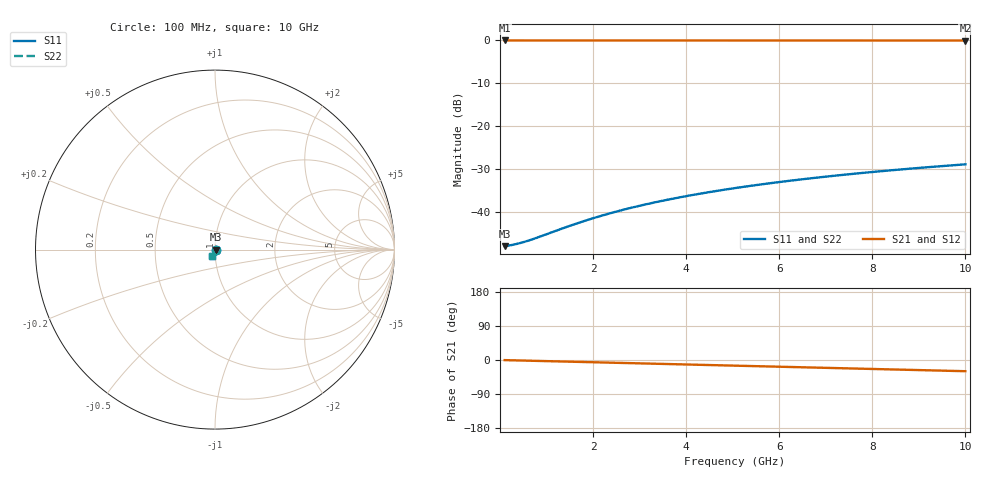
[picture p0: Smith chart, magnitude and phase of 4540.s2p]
# Hz S RI R 50.00
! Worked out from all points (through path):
!   100 points, 100 MHz to 10 GHz, reference 50 ohm
!   highest |S21| = -0.04 dB at 100 MHz (marker M1); lowest = 0.0 dB at 10 GHz (marker M2)
!   group delay of S21, straight-line fit = 8.21 ps
!   lowest |S11| = -47.8 dB at 100 MHz (marker M3), VSWR 1.01, Z = 50.4 - j0.0398 ohm
!   |S11| at or under -10 dB: start of sweep to end of sweep
!   |S22| runs from -47.8 to -28.8 dB; largest |S21 - S12| = 0
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1e8  0.00403 -0.000394  0.9959 -0.00513  0.9959 -0.00513  0.00403 -0.000394
2e8  0.00405 -0.000789  0.9959 -0.0103  0.9959 -0.0103  0.00405 -0.000789
3e8  0.00406 -0.00118  0.9958 -0.0154  0.9958 -0.0154  0.00406 -0.00118
4e8  0.00406 -0.00158  0.9957 -0.0205  0.9957 -0.0205  0.00406 -0.00158
6e8  0.00404 -0.00237  0.9954 -0.0308  0.9954 -0.0308  0.00404 -0.00237
8e8  0.004 -0.00316  0.995 -0.0411  0.995 -0.0411  0.004 -0.00316
1.4e9  0.00377 -0.00551  0.9932 -0.0718  0.9932 -0.0718  0.00377 -0.00551
1.8e9  0.00353 -0.00707  0.9914 -0.0923  0.9914 -0.0923  0.00353 -0.00707
2.2e9  0.00323 -0.00863  0.9893 -0.1127  0.9893 -0.1127  0.00323 -0.00863
2.6e9  0.00286 -0.0102  0.9867 -0.1331  0.9867 -0.1331  0.00286 -0.0102
3e9  0.00243 -0.0117  0.9837 -0.1534  0.9837 -0.1534  0.00243 -0.0117
3.4e9  0.00194 -0.0132  0.9802 -0.1736  0.9802 -0.1736  0.00194 -0.0132
3.8e9  0.00138 -0.0147  0.9764 -0.1938  0.9764 -0.1938  0.00138 -0.0147
4.2e9  0.000768 -0.0161  0.9721 -0.2139  0.9721 -0.2139  0.000768 -0.0161
4.6e9  9.37e-05 -0.0176  0.9675 -0.2339  0.9675 -0.2339  9.37e-05 -0.0176
5.1e9  -0.00083 -0.0193  0.961 -0.2588  0.961 -0.2588  -0.00083 -0.0193
5.9e9  -0.00249 -0.022  0.9494 -0.2982  0.9494 -0.2982  -0.00249 -0.022
6.7e9  -0.00436 -0.0246  0.9362 -0.3371  0.9362 -0.3371  -0.00436 -0.0246
7.5e9  -0.00644 -0.027  0.9213 -0.3754  0.9213 -0.3754  -0.00644 -0.027
8.4e9  -0.009 -0.0295  0.9027 -0.4178  0.9027 -0.4178  -0.009 -0.0295
9.2e9  -0.0115 -0.0315  0.8846 -0.4547  0.8846 -0.4547  -0.0115 -0.0315
1e10  -0.0141 -0.0333  0.8649 -0.4908  0.8649 -0.4908  -0.0141 -0.0333
